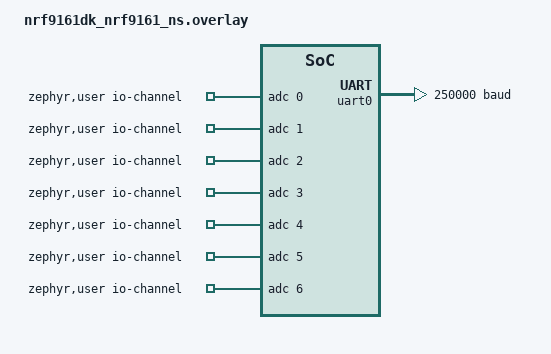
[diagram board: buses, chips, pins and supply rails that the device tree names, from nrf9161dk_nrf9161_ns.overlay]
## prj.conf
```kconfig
#
# Copyright (c) 2021 Nordic Semiconductor ASA
#
# SPDX-License-Identifier: LicenseRef-Nordic-5-Clause
#
# General config
# Logging
CONFIG_LOG=y

# CONFIG_SMS_SEND_PHONE_NUMBER="00420721610079"
CONFIG_SMS_SEND_PHONE_NUMBER="00420724909333"

#CONFIG_SENSOR=y
CONFIG_ADC=y
CONFIG_NRFX_SAADC=y
CONFIG_NRFX_TIMER0=y



CONFIG_STACK_SENTINEL=y
CONFIG_STACK_CANARIES=y
CONFIG_THREAD_NAME=y

#CONFIG_NRFX_GPPI=y
#CONFIG_NRFX_TIMER2=y

CONFIG_SMS=y
CONFIG_SMS_SUBSCRIBERS_MAX_CNT=2
CONFIG_SMS_LOG_LEVEL_DBG=n
CONFIG_MAIN_STACK_SIZE=1536

# Networking
CONFIG_NETWORKING=y
CONFIG_NET_SOCKETS=y
CONFIG_NET_SOCKETS_OFFLOAD=y
CONFIG_NRF_MODEM_LIB=y
CONFIG_POSIX_API=y

# LTE link control
CONFIG_LTE_LINK_CONTROL=y

# Debugging
CONFIG_LOG=y
CONFIG_ASSERT=y
CONFIG_ASSERT_VERBOSE=y
```

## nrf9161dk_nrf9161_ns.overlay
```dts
// To get started, press Ctrl+Space to bring up the completion menu and view the available nodes.

// You can also use the buttons in the sidebar to perform actions on nodes.
// Actions currently available include:

// * Enabling / disabling the node
// * Adding the bus to a bus
// * Removing the node
// * Connecting ADC channels

// For more help, browse the DeviceTree documentation at https://docs.zephyrproject.org/latest/guides/dts/index.html
// You can also visit the nRF DeviceTree extension documentation at https://docs.nordicsemi.com/bundle/nrf-connect-vscode/page/guides/ncs_configure_app.html#devicetree-support-in-the-extension

/ {
	zephyr,user {
		io-channels = <&adc 0 &adc 1 &adc 2 &adc 3 &adc 4 &adc 5 &adc 6>;
	};
};


&uart0_default {
	group1 {
		psels = <NRF_PSEL(UART_TX, 0, 27)>;
	};

	group2 {
		psels = <NRF_PSEL(UART_RX, 0, 26)>;
	};
};


&uart0 {
	current-speed = <250000>;
};



&arduino_adc {
	io-channel-map = <0 &adc 1>, <1 &adc 2>, <2 &adc 3>, <3 &adc 4>, <4 &adc 5>, <5 &adc 6>;
};

&uart0_sleep {
	group1 {
		psels = <NRF_PSEL(UART_TX, 0, 27)>, <NRF_PSEL(UART_RX, 0, 26)>;
	};
};
```

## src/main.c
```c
/*
 * Copyright (c) 2021 Nordic Semiconductor ASA
 *
 * SPDX-License-Identifier: LicenseRef-Nordic-5-Clause
 */

#include <stdio.h>
#include <zephyr/kernel.h>
#include <string.h>
#include <modem/sms.h>
#include <modem/nrf_modem_lib.h>
#include <modem/lte_lc.h>
#include <zephyr/drivers/gpio.h>
#include <zephyr/device.h>
#include <zephyr/devicetree.h>
#include <zephyr/drivers/adc.h>
#include <hal/nrf_saadc.h>
#include <nrfx_timer.h>

#define BTN0_NODE DT_ALIAS(sw0)
#define LED0_NODE DT_ALIAS(led0)
#define DAQ_TIME_US 40

#define ADC_NODE DT_IO_CHANNELS_CTLR(DT_PATH(zephyr_user))

#define CHANNEL_0 0
#define CHANNEL_1 1
#define CHANNEL_2 2
#define CHANNEL_3 3
#define CHANNEL_4 4

#define BUFFER_WIDTH 4
#define BUFFER_LENGTH 5

// nt buffer[BUFFER_SIZE] = {0};
// int index = 0;

/** @brief Symbol specifying timer instance to be used. */
#define TIMER_INST_IDX 0

/** @brief Symbol specifying time in milliseconds to wait for handler execution. */
#define TIME_TO_WAIT_US 5000UL

int16_t buffer[BUFFER_LENGTH][BUFFER_WIDTH] = {0};
volatile uint8_t index = 0;

/*
int16_t buffer[BUFFER_LENGTH][BUFFER_WIDTH] = {0};
int16_t index = 0;
*/
static const struct gpio_dt_spec btn0 = GPIO_DT_SPEC_GET(BTN0_NODE, gpios);
static const struct gpio_dt_spec led0 = GPIO_DT_SPEC_GET(LED0_NODE, gpios);

static const struct device *adc_dev = DEVICE_DT_GET(ADC_NODE);

static const nrfx_timer_t timer = NRFX_TIMER_INSTANCE(0);

volatile uint8_t ADC_SAMPLE_FLAG = 0;

int16_t sample_buffer[4];

#define RES_VAR_LEN 16000

uint16_t rec_counter = 0;

uint16_t ch0_volt[RES_VAR_LEN];
uint16_t ch1_volt[RES_VAR_LEN];
uint16_t ch0_int[RES_VAR_LEN];
uint16_t ch1_int[RES_VAR_LEN];

static const struct adc_sequence sequence = {
	.channels = BIT(CHANNEL_1) | BIT(CHANNEL_2) | BIT(CHANNEL_3) | BIT(CHANNEL_4),
	.buffer = sample_buffer,
	.buffer_size = sizeof(sample_buffer),
	.resolution = 14
	//.oversampling = NRF_SAADC_OVERSAMPLE_16X
};

static const struct adc_channel_cfg channel_cfg_0 = {
	.gain = ADC_GAIN_1_6,
	.reference = ADC_REF_INTERNAL,
	.acquisition_time = ADC_ACQ_TIME(ADC_ACQ_TIME_MICROSECONDS, DAQ_TIME_US),
	.channel_id = CHANNEL_0,
	.input_positive = NRF_SAADC_INPUT_AIN0};

static const struct adc_channel_cfg channel_cfg_1 = {
	.gain = ADC_GAIN_1_6,
	.reference = ADC_REF_INTERNAL,
	.acquisition_time = ADC_ACQ_TIME(ADC_ACQ_TIME_MICROSECONDS, DAQ_TIME_US),
	.channel_id = CHANNEL_1,
	.input_positive = NRF_SAADC_INPUT_AIN1};

static const struct adc_channel_cfg channel_cfg_2 = {
	.gain = ADC_GAIN_1_6,
	.reference = ADC_REF_INTERNAL,
	.acquisition_time = ADC_ACQ_TIME(ADC_ACQ_TIME_MICROSECONDS, DAQ_TIME_US),
	.channel_id = CHANNEL_2,
	.input_positive = NRF_SAADC_INPUT_AIN2};

static const struct adc_channel_cfg channel_cfg_3 = {
	.gain = ADC_GAIN_1_6,
	.reference = ADC_REF_INTERNAL,
	.acquisition_time = ADC_ACQ_TIME(ADC_ACQ_TIME_MICROSECONDS, DAQ_TIME_US),
	.channel_id = CHANNEL_3,
	.input_positive = NRF_SAADC_INPUT_AIN3};

static const struct adc_channel_cfg channel_cfg_4 = {
	.gain = ADC_GAIN_1_6,
	.reference = ADC_REF_INTERNAL,
	.acquisition_time = ADC_ACQ_TIME(ADC_ACQ_TIME_MICROSECONDS, DAQ_TIME_US),
	.channel_id = CHANNEL_4,
	.input_positive = NRF_SAADC_INPUT_AIN4};

static void timer_handler(nrf_timer_event_t event_type, void *p_context)
{
	if (event_type == NRF_TIMER_EVENT_COMPARE0)
	{
		ADC_SAMPLE_FLAG = 1;
	}
}

static void sms_callback(struct sms_data *const data, void *context)
{
	if (data == NULL)
	{
		printk("%s with NULL data\n", __func__);
		return;
	}

	if (data->type == SMS_TYPE_DELIVER)
	{
		/* When SMS message is received, print information */
		struct sms_deliver_header *header = &data->header.deliver;

		printk("\nSMS received:\n");
		printk("\tTime:   %02d-%02d-%02d %02d:%02d:%02d\n", header->time.year,
			   header->time.month, header->time.day, header->time.hour, header->time.minute,
			   header->time.second);

		printk("\tText:   '%s'\n", data->payload);
		printk("\tLength: %d\n", data->payload_len);

		if (header->app_port.present)
		{
			printk("\tApplication port addressing scheme: dest_port=%d, src_port=%d\n",
				   header->app_port.dest_port, header->app_port.src_port);
		}
		if (header->concatenated.present)
		{
			printk("\tConcatenated short message: ref_number=%d, msg %d/%d\n",
				   header->concatenated.ref_number, header->concatenated.seq_number,
				   header->concatenated.total_msgs);
		}
	}
	else if (data->type == SMS_TYPE_STATUS_REPORT)
	{
		printk("SMS status report received\n");
	}
	else
	{
		printk("SMS protocol message with unknown type received\n");
	}
}

void add_samples_to_buffer(int16_t samples[BUFFER_WIDTH], int16_t buffer[BUFFER_LENGTH][BUFFER_WIDTH])
{
	for (int i = 0; i < BUFFER_WIDTH; i++)
	{
		buffer[index][i] = samples[i];
	}
	index++;
	if (index == BUFFER_LENGTH)
	{
		index = 0;
	}
}

void print_4buffer(int16_t buffer[BUFFER_LENGTH][BUFFER_WIDTH])
{
	for (int i = 0; i < BUFFER_LENGTH; i++)
	{
		for (int j = 0; j < BUFFER_WIDTH; j++)
		{
			printf("%d,", buffer[i][j]);
		}
		printf("\n");
	}
}

void average_of_vectors(int16_t array[BUFFER_LENGTH][BUFFER_WIDTH], int16_t averages[BUFFER_WIDTH])
{
	for (int i = 0; i < BUFFER_WIDTH; i++)
	{
		int32_t total_sum = 0;
		for (int j = 0; j < BUFFER_LENGTH; j++)
		{
			total_sum += array[j][i];
		}
		averages[i] = (int16_t)(total_sum / BUFFER_LENGTH);
	}
}

int main(void)
{

	nrfx_err_t status;
	(void)status;

#if defined(__ZEPHYR__)
	IRQ_CONNECT(NRFX_IRQ_NUMBER_GET(NRF_TIMER_INST_GET(TIMER_INST_IDX)), IRQ_PRIO_LOWEST, NRFX_TIMER_INST_HANDLER_GET(TIMER_INST_IDX), 0, 0);
#endif

	int handle = 0;
	int ret = 0;

	nrfx_timer_t timer_inst = NRFX_TIMER_INSTANCE(TIMER_INST_IDX);
	uint32_t base_frequency = NRF_TIMER_BASE_FREQUENCY_GET(timer_inst.p_reg);
	nrfx_timer_config_t config = NRFX_TIMER_DEFAULT_CONFIG(base_frequency);
	config.bit_width = NRF_TIMER_BIT_WIDTH_32;
	config.p_context = "Some context";
	// config.interrupt_priority=20;

	status = nrfx_timer_init(&timer_inst, &config, timer_handler);
	NRFX_ASSERT(status == NRFX_SUCCESS);

	nrfx_timer_clear(&timer_inst);
	uint32_t desired_ticks = nrfx_timer_us_to_ticks(&timer_inst, TIME_TO_WAIT_US);
	nrfx_timer_extended_compare(&timer_inst, NRF_TIMER_CC_CHANNEL0, desired_ticks,
								NRF_TIMER_SHORT_COMPARE0_CLEAR_MASK, true);

	k_sleep(K_MSEC(500));

	printk("\nSAMPLE APP\n");

	if (!device_is_ready(adc_dev))
	{
		printk("ADC not ready\n");
		return;
	}

	// adc_channel_setup(adc_dev, &channel_cfg_0);
	adc_channel_setup(adc_dev, &channel_cfg_1);
	adc_channel_setup(adc_dev, &channel_cfg_2);
	adc_channel_setup(adc_dev, &channel_cfg_3);
	adc_channel_setup(adc_dev, &channel_cfg_4);

	ret = gpio_pin_configure_dt(&btn0, GPIO_INPUT);
	if (ret < 0)
	{
		printk("BTN0 initialization failed, error: %d\n", ret);
		return 0;
	}

	ret = gpio_pin_configure_dt(&led0, GPIO_OUTPUT_ACTIVE);
	if (ret < 0)
	{
		printk("LED0 initialization failed, error: %d\n", ret);
		return 0;
	}
	else
	{
		gpio_pin_set_dt(&led0, 0);
	}

	printk("led and button done\n");

	/*
		ret = nrf_modem_lib_init();
		if (ret)
		{
			printk("Modem library initialization failed, error: %d\n", ret);
			return 0;
		}
		else
		{
			printk("modem init ok\n");
		}

		ret = lte_lc_connect();
		if (ret)
		{
			printk("Lte_lc failed to initialize and connect, err %d", ret);
			return 0;
		}
		else
		{
			printk("lte connected\n");
		}

		handle = sms_register_listener(sms_callback, NULL);
		if (handle)
		{
			printk("sms_register_listener returned err: %d\n", handle);
			return 0;
		}
		else
		{
			printk("sms listener init init ok\n");
		}

		printk("SMS sample is ready for receiving messages\n");

		*/

	printk("\nstarting timer\n");
	k_sleep(K_MSEC(1000));
	nrfx_timer_enable(&timer_inst);
	// k_sleep(K_MSEC(5000));
	// nrfx_timer_disable(&timer_inst);

	uint8_t sample_print = 0;
	while (1)
	{








k_msleep(2000);
printk("Sending SMS\n");
k_msleep(2000);
			
			if (strcmp(CONFIG_SMS_SEND_PHONE_NUMBER, ""))
			{
				printk("Sending SMS: number=%s, text=\"SMS sample: testing\"\n",
					   CONFIG_SMS_SEND_PHONE_NUMBER);
				ret = sms_send_text(CONFIG_SMS_SEND_PHONE_NUMBER,
									"Co na to hrabes curaku?");
				if (ret)
				{
					printk("Sending SMS failed with error: %d\n", ret);
				}
			}
			else
			{
				printk("\nSMS sending is skipped but receiving will still work.\n"
					   "If you wish to send SMS, please configure "
					   "CONFIG_SMS_SEND_PHONE_NUMBER\n");
			}

			k_msleep(2000);
	

while (1) {
k_msleep(200);
}















		rec_counter = 0;
		int16_t sample_buffer2[4] = {0};
		while (1)
		{

			// gpio_pin_set_dt(&led0, 1);
			// gpio_pin_toggle_dt(&led0);
			// adc_read(adc_dev, &sequence);
			if (ADC_SAMPLE_FLAG == 1)
			{
				// gpio_pin_set_dt(&led0, 1);
				ADC_SAMPLE_FLAG = 0;
				adc_read(adc_dev, &sequence);				   // takes 248 us
				add_samples_to_buffer(sample_buffer, &buffer); // takes 2 us
				average_of_vectors(buffer, &sample_buffer2);   // 3.5 us

				//    printk("\nfinito\n");

				/*
				ch0_volt[rec_counter]=sample_buffer2[0];
				ch1_volt[rec_counter]=sample_buffer2[1];
				ch0_int[rec_counter]=sample_buffer2[2];
				ch1_int[rec_counter]=sample_buffer2[3];
				rec_counter++;                              // 1us
	*/

				if (sample_print >= 4)
				{
					sample_print = 0;

					printk("%d, %d, %d, %d\n",
						   sample_buffer2[0],
						   sample_buffer2[1],
						   sample_buffer2[2],
						   sample_buffer2[3]);
				}
				sample_print++;

				/*

							if (rec_counter>RES_VAR_LEN-1) {
								while (1) {
									printk("\nfinito\n");
									k_sleep(K_MSEC(1000));
								};
							}
				*/

				// gpio_pin_set_dt(&led0, 0);
			}
		}

		uint8_t smpcnt = 0;
		while (1)
		{
			int ret = adc_read(adc_dev, &sequence);
			smpcnt++;
			if (ret == 0)
			{
				add_samples_to_buffer(sample_buffer, &buffer);
			}
			else
			{
				printk("ADC read error: %d\n", ret);
			}
			k_sleep(K_USEC(100));

			if (smpcnt == BUFFER_LENGTH)
			{
				smpcnt = 0;
				int16_t sample_buffer2[4] = {0};
				average_of_vectors(buffer, &sample_buffer2);
				printk("%d,%d,%d,%d\n\r", sample_buffer2[0], sample_buffer2[1], sample_buffer2[2], sample_buffer2[3]);

				// print_4buffer(buffer);
			}
		}

		if (gpio_pin_get_dt(&btn0))
		{
			gpio_pin_set_dt(&led0, 1);
			if (strcmp(CONFIG_SMS_SEND_PHONE_NUMBER, ""))
			{
				printk("Sending SMS: number=%s, text=\"SMS sample: testing\"\n",
					   CONFIG_SMS_SEND_PHONE_NUMBER);
				ret = sms_send_text(CONFIG_SMS_SEND_PHONE_NUMBER,
									"Co na to hrabes curaku?");
				if (ret)
				{
					printk("Sending SMS failed with error: %d\n", ret);
				}
			}
			else
			{
				printk("\nSMS sending is skipped but receiving will still work.\n"
					   "If you wish to send SMS, please configure "
					   "CONFIG_SMS_SEND_PHONE_NUMBER\n");
			}
			gpio_pin_set_dt(&led0, 0);
			k_msleep(2000);
		}
	}

	/* In our application, we should unregister SMS in some conditions with:
	 *   sms_unregister_listener(handle);
	 * However, this sample will continue to be registered for
	 * received SMS messages and they can be seen in serial port log.
	 */
	return 0;
}
```
